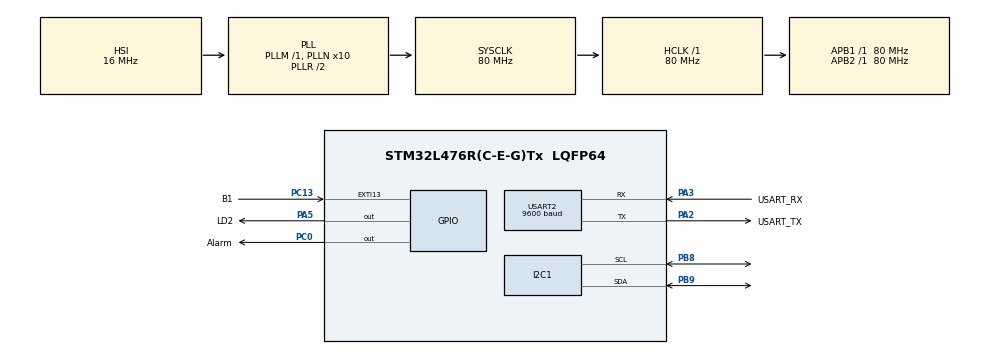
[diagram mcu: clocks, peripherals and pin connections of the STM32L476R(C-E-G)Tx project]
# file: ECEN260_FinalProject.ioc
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I2C1.Timing=0x10909CEC
Mcu.Family=STM32L4
Mcu.Name=STM32L476R(C-E-G)Tx
Mcu.Package=LQFP64
NVIC.EXTI15_10_IRQn=true\:0\:0\:false\:false\:true\:true\:true\:true
NVIC.PriorityGroup=NVIC_PRIORITYGROUP_4
NVIC.RTC_Alarm_IRQn=true\:0\:0\:false\:false\:true\:true\:true\:true
NVIC.USART2_IRQn=true\:0\:0\:false\:false\:true\:true\:true\:true
PA13\ (JTMS-SWDIO).GPIO_Label=TMS
PA13\ (JTMS-SWDIO).Mode=Serial_Wire
PA13\ (JTMS-SWDIO).Signal=SYS_JTMS-SWDIO
PA14\ (JTCK-SWCLK).GPIO_Label=TCK
PA14\ (JTCK-SWCLK).Mode=Serial_Wire
PA14\ (JTCK-SWCLK).Signal=SYS_JTCK-SWCLK
PA2.GPIO_Label=USART_TX
PA2.GPIO_Mode=GPIO_MODE_AF_PP
PA2.GPIO_PuPd=GPIO_NOPULL
PA2.GPIO_Speed=GPIO_SPEED_FREQ_VERY_HIGH
PA2.Mode=Asynchronous
PA2.Signal=USART2_TX
PA3.GPIO_Label=USART_RX
PA3.GPIO_Mode=GPIO_MODE_AF_PP
PA3.GPIO_PuPd=GPIO_NOPULL
PA3.GPIO_Speed=GPIO_SPEED_FREQ_VERY_HIGH
PA3.Mode=Asynchronous
PA3.Signal=USART2_RX
PA5.GPIO_Label=LD2
PA5.GPIO_ModeDefaultOutputPP=GPIO_MODE_OUTPUT_PP
PA5.GPIO_PuPd=GPIO_NOPULL
PA5.GPIO_Speed=GPIO_SPEED_FREQ_LOW
PA5.Signal=GPIO_Output
PB3\ (JTDO-TRACESWO).GPIO_Label=SWO
PB3\ (JTDO-TRACESWO).Signal=SYS_JTDO-SWO
PB8.Mode=I2C
PB8.Signal=I2C1_SCL
PB9.Mode=I2C
PB9.Signal=I2C1_SDA
PC0.GPIO_Label=Alarm
PC0.Signal=GPIO_Output
PC13.GPIO_Label=B1
PC13.Signal=GPXTI13
PC14-OSC32_IN\ (PC14).Mode=LSE-External-Oscillator
PC14-OSC32_IN\ (PC14).Signal=RCC_OSC32_IN
PC15-OSC32_OUT\ (PC15).Mode=LSE-External-Oscillator
PC15-OSC32_OUT\ (PC15).Signal=RCC_OSC32_OUT
PH0-OSC_IN\ (PH0).Mode=HSE-External-Oscillator
PH0-OSC_IN\ (PH0).Signal=RCC_OSC_IN
PH1-OSC_OUT\ (PH1).Mode=HSE-External-Oscillator
PH1-OSC_OUT\ (PH1).Signal=RCC_OSC_OUT
ProjectManager.HeapSize=0x200
ProjectManager.StackSize=0x400
ProjectManager.TargetToolchain=STM32CubeIDE
RCC.ADCFreq_Value=64000000
RCC.AHBFreq_Value=80000000
RCC.APB1Freq_Value=80000000
RCC.APB1TimFreq_Value=80000000
RCC.APB2Freq_Value=80000000
RCC.APB2TimFreq_Value=80000000
RCC.CortexFreq_Value=80000000
RCC.HCLKFreq_Value=80000000
RCC.HSE_VALUE=8000000
RCC.HSI_VALUE=16000000
RCC.MSI_VALUE=4000000
RCC.PLLN=10
RCC.PLLSourceVirtual=RCC_PLLSOURCE_HSI
RCC.PREFETCH_ENABLE=1
RCC.RTCClockSelection=RCC_RTCCLKSOURCE_LSE
RCC.SYSCLKFreq_VALUE=80000000
RCC.SYSCLKSource=RCC_SYSCLKSOURCE_PLLCLK
RCC.USBFreq_Value=64000000
RCC.VCOOutputFreq_Value=160000000
RTC.Alarm-Alarm\ A=RTC_ALARM_A
RTC.AlarmMaskDateWeekDay-Alarm\ A=RTC_ALARMMASK_DATEWEEKDAY
RTC.Date=7
RTC.Format=RTC_FORMAT_BIN
RTC.HourFormat=RTC_HOURFORMAT_12
RTC.Hours=12
RTC.Minutes=59
RTC.Month=RTC_MONTH_APRIL
RTC.TimeFormat=RTC_HOURFORMAT12_PM
RTC.WeekDay=RTC_WEEKDAY_SUNDAY
RTC.Year=24
USART2.BaudRate=9600
USART2.VirtualMode-Asynchronous=VM_ASYNC
VP_RTC_VS_RTC_Activate.Mode=RTC_Enabled
VP_RTC_VS_RTC_Alarm_A_Intern.Mode=Alarm A
VP_RTC_VS_RTC_Calendar.Mode=RTC_Calendar
board=NUCLEO-L476RG

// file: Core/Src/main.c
/* USER CODE BEGIN Header */
/**
  ******************************************************************************
  * @file           : main.c
  * @brief          : Main program body
  ******************************************************************************
  * @attention
  *
  * Copyright (c) 2024 STMicroelectronics.
  * All rights reserved.
  *
  * This software is licensed under terms that can be found in the LICENSE file
  * in the root directory of this software component.
  * If no LICENSE file comes with this software, it is provided AS-IS.
  *
  ******************************************************************************
  */
/* USER CODE END Header */
#include "main.h"

/* USER CODE BEGIN Includes */
#include <stdio.h>
#include <stdbool.h>
#include "string.h"
/* USER CODE END Includes */

/* USER CODE BEGIN PM */
#define I2C_ADDR 0x27 // I2C address of the PCF8574
#define RS_BIT 0 // Register select bit
#define EN_BIT 2 // Enable bit
#define BL_BIT 3 // Backlight bit
#define D4_BIT 4 // Data 4 bit
#define D5_BIT 5 // Data 5 bit
#define D6_BIT 6 // Data 6 bit
#define D7_BIT 7 // Data 7 bit
#define LCD_ROWS 2 // Number of rows on the LCD
#define LCD_COLS 16 // Number of columns on the LCD

// Uart Macros
#define UART_DELAY 100 // wait max of 100 ms between frames in message
#define MAX_MESSAGE_SIZE 100 // 100 characters maximum message size
/* USER CODE END PM */

I2C_HandleTypeDef hi2c1;

RTC_HandleTypeDef hrtc;

UART_HandleTypeDef huart2;

/* USER CODE BEGIN PV */

// Private variable for LCD
uint8_t backlight_state = 1;

// Private variables for UART
uint8_t message[MAX_MESSAGE_SIZE] = {0}; // char array to store message received
uint8_t response[MAX_MESSAGE_SIZE] = {0}; // char array to store response message
uint8_t uart2_byte; // byte received from UART2
uint8_t buffer_position = 0; // how many bytes received so far

// Private variables for UART Logic
bool setting_time = false;
bool setting_alarm = false;

// Time, Date, and Alarm variable initializations
RTC_TimeTypeDef tempTime;
RTC_DateTypeDef tempDate;
RTC_AlarmTypeDef sAlarm;
RTC_TimeTypeDef sTime;
RTC_DateTypeDef sDate;
bool alarm = false;		// Is an alarm currently going off
bool alarm_cleared = false;		// Was an alarm cleared more recenly than it was set("Get Alarm" cant see cleared status)
int seconds=0;
int minutes=0;
int hour=0;
int day=0;
int month=0;
int year=0;

/* USER CODE END PV */

void SystemClock_Config(void);
static void MX_GPIO_Init(void);
static void MX_USART2_UART_Init(void);
static void MX_RTC_Init(void);
static void MX_I2C1_Init(void);
/* USER CODE BEGIN PFP */
void GetAlarmStatus(char*);
/* USER CODE END PFP */

/* USER CODE BEGIN 0 */

// Functions for interfacing with the LCD
void lcd_write_nibble(uint8_t nibble, uint8_t rs) {
 uint8_t data = nibble << D4_BIT;
 data |= rs << RS_BIT;
 data |= backlight_state << BL_BIT; // Include backlight state in data
 data |= 1 << EN_BIT;
 HAL_I2C_Master_Transmit(&hi2c1, I2C_ADDR << 1, &data, 1, 100);
 HAL_Delay(1);
 data &= ~(1 << EN_BIT);
 HAL_I2C_Master_Transmit(&hi2c1, I2C_ADDR << 1, &data, 1, 100);
}
void lcd_send_cmd(uint8_t cmd) {
 uint8_t upper_nibble = cmd >> 4;
 uint8_t lower_nibble = cmd & 0x0F;
 lcd_write_nibble(upper_nibble, 0);
 lcd_write_nibble(lower_nibble, 0);
 if (cmd == 0x01 || cmd == 0x02) {
 HAL_Delay(2);
 }
}
void lcd_send_data(uint8_t data) {
 uint8_t upper_nibble = data >> 4;
 uint8_t lower_nibble = data & 0x0F;
 lcd_write_nibble(upper_nibble, 1);
 lcd_write_nibble(lower_nibble, 1);
}

void lcd_init() {
 HAL_Delay(50);
 lcd_write_nibble(0x03, 0);
 HAL_Delay(5);
 lcd_write_nibble(0x03, 0);
 HAL_Delay(1);
 lcd_write_nibble(0x03, 0);
 HAL_Delay(1);
 lcd_write_nibble(0x02, 0);
 lcd_send_cmd(0x28);
 lcd_send_cmd(0x0C);
 lcd_send_cmd(0x06);
 lcd_send_cmd(0x01);
 HAL_Delay(2);
}
void lcd_write_string(char *str) {
 while (*str) {
 lcd_send_data(*str++);
 }
}
void lcd_set_cursor(uint8_t row, uint8_t column) {
 uint8_t address;
 switch (row) {
 case 0:
 address = 0x00;
 break;
 case 1:
 address = 0x40;
 break;
 default:
 address = 0x00;
 }
 address += column;
 lcd_send_cmd(0x80 | address);
}
void lcd_clear(void) {
lcd_send_cmd(0x01);
 HAL_Delay(2);
}
void lcd_backlight(uint8_t state) {
 if (state) {
 backlight_state = 1;
 } else {
 backlight_state = 0;
 }
}
/* USER CODE END 0 */

int main(void)
{

  /* MCU Configuration--------------------------------------------------------*/

  /* Reset of all peripherals, Initializes the Flash interface and the Systick. */
  HAL_Init();

  /* Configure the system clock */
  SystemClock_Config();

  /* Initialize all configured peripherals */
  MX_GPIO_Init();
  MX_USART2_UART_Init();
  MX_RTC_Init();
  MX_I2C1_Init();
  /* USER CODE BEGIN 2 */

  // Start UART2 to receive interrupts
  HAL_UART_Receive_IT(&huart2, &uart2_byte, 1); // put byte from UART2 in "uart2_byte"

  // Set up I2C pull-up resistors
  GPIOB->PUPDR |= 0b01 << (8*2);
  GPIOB->PUPDR |= 0b01 << (9*2);

  // Initialize the LCD and turn on backlight
  lcd_init();
  lcd_backlight(1);

  /* USER CODE END 2 */

  /* Infinite loop */
  while (1)
  {

    /* USER CODE BEGIN 3 */

	  // Re-initialize these here to minimize distance between the time retrieval and display.
	  char time_str[9];
	  char date_str[16];

	  // Retrieve time and date from RTC
	  HAL_RTC_GetTime(&hrtc, &sTime, RTC_FORMAT_BIN);
	  HAL_RTC_GetDate(&hrtc, &sDate, RTC_FORMAT_BIN);

	  // Assign time and date to initialized variables
	  seconds = sTime.Seconds;
	  minutes = sTime.Minutes;
	  hour = sTime.Hours;
	  day = sDate.Date;
	  month = sDate.Month;
	  year = sDate.Year;

	  //Format our time and date into a printable string
	  snprintf(time_str, sizeof(time_str), "%02d:%02d:%02d", hour, minutes, seconds);
	  snprintf(date_str, sizeof(date_str), "%02d/%02d/20%02d", month, day, year);

	  // Clear the LCD and then write the updated time and date to it
	  lcd_clear();
	  lcd_write_string(time_str);
	  lcd_set_cursor(1, 0);
	  lcd_write_string(date_str);

	  // Delay for one second between writing
	  HAL_Delay(1000);
  }
  /* USER CODE END 3 */
}

void SystemClock_Config(void)
{
  RCC_OscInitTypeDef RCC_OscInitStruct = {0};
  RCC_ClkInitTypeDef RCC_ClkInitStruct = {0};

  /** Configure the main internal regulator output voltage
  */
  if (HAL_PWREx_ControlVoltageScaling(PWR_REGULATOR_VOLTAGE_SCALE1) != HAL_OK)
  {
    Error_Handler();
  }

  /** Configure LSE Drive Capability
  */
  HAL_PWR_EnableBkUpAccess();
  __HAL_RCC_LSEDRIVE_CONFIG(RCC_LSEDRIVE_LOW);

  /** Initializes the RCC Oscillators according to the specified parameters
  * in the RCC_OscInitTypeDef structure.
  */
  RCC_OscInitStruct.OscillatorType = RCC_OSCILLATORTYPE_HSI|RCC_OSCILLATORTYPE_LSE;
  RCC_OscInitStruct.LSEState = RCC_LSE_ON;
  RCC_OscInitStruct.HSIState = RCC_HSI_ON;
  RCC_OscInitStruct.HSICalibrationValue = RCC_HSICALIBRATION_DEFAULT;
  RCC_OscInitStruct.PLL.PLLState = RCC_PLL_ON;
  RCC_OscInitStruct.PLL.PLLSource = RCC_PLLSOURCE_HSI;
  RCC_OscInitStruct.PLL.PLLM = 1;
  RCC_OscInitStruct.PLL.PLLN = 10;
  RCC_OscInitStruct.PLL.PLLP = RCC_PLLP_DIV7;
  RCC_OscInitStruct.PLL.PLLQ = RCC_PLLQ_DIV2;
  RCC_OscInitStruct.PLL.PLLR = RCC_PLLR_DIV2;
  if (HAL_RCC_OscConfig(&RCC_OscInitStruct) != HAL_OK)
  {
    Error_Handler();
  }

  /** Initializes the CPU, AHB and APB buses clocks
  */
  RCC_ClkInitStruct.ClockType = RCC_CLOCKTYPE_HCLK|RCC_CLOCKTYPE_SYSCLK
                              |RCC_CLOCKTYPE_PCLK1|RCC_CLOCKTYPE_PCLK2;
  RCC_ClkInitStruct.SYSCLKSource = RCC_SYSCLKSOURCE_PLLCLK;
  RCC_ClkInitStruct.AHBCLKDivider = RCC_SYSCLK_DIV1;
  RCC_ClkInitStruct.APB1CLKDivider = RCC_HCLK_DIV1;
  RCC_ClkInitStruct.APB2CLKDivider = RCC_HCLK_DIV1;

  if (HAL_RCC_ClockConfig(&RCC_ClkInitStruct, FLASH_LATENCY_4) != HAL_OK)
  {
    Error_Handler();
  }
}

static void MX_I2C1_Init(void)
{

  hi2c1.Instance = I2C1;
  hi2c1.Init.Timing = 0x10909CEC;
  hi2c1.Init.OwnAddress1 = 0;
  hi2c1.Init.AddressingMode = I2C_ADDRESSINGMODE_7BIT;
  hi2c1.Init.DualAddressMode = I2C_DUALADDRESS_DISABLE;
  hi2c1.Init.OwnAddress2 = 0;
  hi2c1.Init.OwnAddress2Masks = I2C_OA2_NOMASK;
  hi2c1.Init.GeneralCallMode = I2C_GENERALCALL_DISABLE;
  hi2c1.Init.NoStretchMode = I2C_NOSTRETCH_DISABLE;
  if (HAL_I2C_Init(&hi2c1) != HAL_OK)
  {
    Error_Handler();
  }

  /** Configure Analogue filter
  */
  if (HAL_I2CEx_ConfigAnalogFilter(&hi2c1, I2C_ANALOGFILTER_ENABLE) != HAL_OK)
  {
    Error_Handler();
  }

  /** Configure Digital filter
  */
  if (HAL_I2CEx_ConfigDigitalFilter(&hi2c1, 0) != HAL_OK)
  {
    Error_Handler();
  }

}

static void MX_RTC_Init(void)
{

  RTC_TimeTypeDef sTime = {0};
  RTC_DateTypeDef sDate = {0};
  RTC_AlarmTypeDef sAlarm = {0};

  /** Initialize RTC Only
  */
  hrtc.Instance = RTC;
  hrtc.Init.HourFormat = RTC_HOURFORMAT_12;
  hrtc.Init.AsynchPrediv = 127;
  hrtc.Init.SynchPrediv = 255;
  hrtc.Init.OutPut = RTC_OUTPUT_DISABLE;
  hrtc.Init.OutPutRemap = RTC_OUTPUT_REMAP_NONE;
  hrtc.Init.OutPutPolarity = RTC_OUTPUT_POLARITY_HIGH;
  hrtc.Init.OutPutType = RTC_OUTPUT_TYPE_OPENDRAIN;
  if (HAL_RTC_Init(&hrtc) != HAL_OK)
  {
    Error_Handler();
  }

  /** Initialize RTC and set the Time and Date
  */
  sTime.Hours = 0;
  sTime.Minutes = 0;
  sTime.Seconds = 0;
  sTime.TimeFormat = RTC_HOURFORMAT12_AM;
  sTime.DayLightSaving = RTC_DAYLIGHTSAVING_NONE;
  sTime.StoreOperation = RTC_STOREOPERATION_RESET;
  if (HAL_RTC_SetTime(&hrtc, &sTime, RTC_FORMAT_BIN) != HAL_OK)
  {
    Error_Handler();
  }
  sDate.WeekDay = RTC_WEEKDAY_SUNDAY;
  sDate.Month = RTC_MONTH_APRIL;
  sDate.Date = 7;
  sDate.Year = 24;

  if (HAL_RTC_SetDate(&hrtc, &sDate, RTC_FORMAT_BIN) != HAL_OK)
  {
    Error_Handler();
  }

  /** Enable the Alarm A
  */
  sAlarm.AlarmTime.Hours = 1;
  sAlarm.AlarmTime.Minutes = 0;
  sAlarm.AlarmTime.Seconds = 0;
  sAlarm.AlarmTime.SubSeconds = 0;
  sAlarm.AlarmTime.TimeFormat = RTC_HOURFORMAT12_PM;
  sAlarm.AlarmTime.DayLightSaving = RTC_DAYLIGHTSAVING_NONE;
  sAlarm.AlarmTime.StoreOperation = RTC_STOREOPERATION_RESET;
  sAlarm.AlarmMask = RTC_ALARMMASK_DATEWEEKDAY;
  sAlarm.AlarmSubSecondMask = RTC_ALARMSUBSECONDMASK_ALL;
  sAlarm.AlarmDateWeekDaySel = RTC_ALARMDATEWEEKDAYSEL_DATE;
  sAlarm.AlarmDateWeekDay = 1;
  sAlarm.Alarm = RTC_ALARM_A;
  if (HAL_RTC_SetAlarm_IT(&hrtc, &sAlarm, RTC_FORMAT_BIN) != HAL_OK)
  {
    Error_Handler();
  }

}

static void MX_USART2_UART_Init(void)
{

  huart2.Instance = USART2;
  huart2.Init.BaudRate = 9600;
  huart2.Init.WordLength = UART_WORDLENGTH_8B;
  huart2.Init.StopBits = UART_STOPBITS_1;
  huart2.Init.Parity = UART_PARITY_NONE;
  huart2.Init.Mode = UART_MODE_TX_RX;
  huart2.Init.HwFlowCtl = UART_HWCONTROL_NONE;
  huart2.Init.OverSampling = UART_OVERSAMPLING_16;
  huart2.Init.OneBitSampling = UART_ONE_BIT_SAMPLE_DISABLE;
  huart2.AdvancedInit.AdvFeatureInit = UART_ADVFEATURE_NO_INIT;
  if (HAL_UART_Init(&huart2) != HAL_OK)
  {
    Error_Handler();
  }

}

static void MX_GPIO_Init(void)
{
  GPIO_InitTypeDef GPIO_InitStruct = {0};

  /* GPIO Ports Clock Enable */
  __HAL_RCC_GPIOC_CLK_ENABLE();
  __HAL_RCC_GPIOH_CLK_ENABLE();
  __HAL_RCC_GPIOA_CLK_ENABLE();
  __HAL_RCC_GPIOB_CLK_ENABLE();

  /*Configure GPIO pin Output Level */
  HAL_GPIO_WritePin(Alarm_GPIO_Port, Alarm_Pin, GPIO_PIN_RESET);

  /*Configure GPIO pin Output Level */
  HAL_GPIO_WritePin(LD2_GPIO_Port, LD2_Pin, GPIO_PIN_RESET);

  /*Configure GPIO pin : B1_Pin */
  GPIO_InitStruct.Pin = B1_Pin;
  GPIO_InitStruct.Mode = GPIO_MODE_IT_RISING;
  GPIO_InitStruct.Pull = GPIO_NOPULL;
  HAL_GPIO_Init(B1_GPIO_Port, &GPIO_InitStruct);

  /*Configure GPIO pin : Alarm_Pin */
  GPIO_InitStruct.Pin = Alarm_Pin;
  GPIO_InitStruct.Mode = GPIO_MODE_OUTPUT_PP;
  GPIO_InitStruct.Pull = GPIO_NOPULL;
  GPIO_InitStruct.Speed = GPIO_SPEED_FREQ_LOW;
  HAL_GPIO_Init(Alarm_GPIO_Port, &GPIO_InitStruct);

  /*Configure GPIO pin : LD2_Pin */
  GPIO_InitStruct.Pin = LD2_Pin;
  GPIO_InitStruct.Mode = GPIO_MODE_OUTPUT_PP;
  GPIO_InitStruct.Pull = GPIO_NOPULL;
  GPIO_InitStruct.Speed = GPIO_SPEED_FREQ_LOW;
  HAL_GPIO_Init(LD2_GPIO_Port, &GPIO_InitStruct);

  /* EXTI interrupt init*/
  HAL_NVIC_SetPriority(EXTI15_10_IRQn, 0, 0);
  HAL_NVIC_EnableIRQ(EXTI15_10_IRQn);

}

/* USER CODE BEGIN 4 */
void HAL_RTC_AlarmAEventCallback(RTC_HandleTypeDef *hrtc) {

	// When the alarm triggers, Turn on the LED
	HAL_GPIO_WritePin(Alarm_GPIO_Port, Alarm_Pin, GPIO_PIN_SET);
	alarm = true;
}

void HAL_GPIO_EXTI_Callback(uint16_t GPIO_Pin){

	// Check if interrupt was on line 13
	if(GPIO_Pin == B1_Pin){

		// Toggle the LED and turn off the Alarm
		HAL_GPIO_TogglePin(Alarm_GPIO_Port, Alarm_Pin);

		if(alarm){
			// If the button is pressed after an alarm has gone off reset it and clear the alarm variable
			HAL_RTC_DeactivateAlarm(&hrtc, RTC_ALARM_A);
			HAL_RTC_SetAlarm_IT(&hrtc, &sAlarm, RTC_FORMAT_BIN);
			alarm = false;
		}

		// Debounce the switch with a delay
		for(int i=0; i<=100; i++);
	}

}

// UART communication section
void HAL_UART_RxCpltCallback(UART_HandleTypeDef *huart){
 // Check if byte received was on UART2 (from laptop)
 if (huart == &huart2){
     // If uart2_byte isn't \r, \n, or \0, it means the message isn't over yet
     if ((uart2_byte != '\r') && (uart2_byte != '\n') && (uart2_byte != '\0')){

   	  // Add uart2_byte to the message
         message[buffer_position] = uart2_byte;
         buffer_position++;

     } else {
    	 // Code for interpreting commands

    	 // First check for special setting cases
    	 if(setting_time && (sizeof(message) > 15)){
    		 // Input should be Current Time

    		 // Initialize temporary variables
    		 int year;
    		 int month;
    		 int day;
    		 int hour;
    		 int minute;
    		 int second;

    		 // Cast data from "message" onto our variables
			 sscanf(message, "20%d-%d-%d %d:%d:%d", &year, &month, &day, &hour, &minute, &second);

			 // Account for AM/PM hours
			 if (hour >= 12){
				 tempTime.Hours = (hour-12);
				 tempTime.TimeFormat = 1;
			 }
			 else{
				 tempTime.Hours = hour;
				 tempTime.TimeFormat = 0;
			 }

			 // Finish setting Time and Date variables into their struct equivalent
			 tempDate.Year = year;
			 tempDate.Month = month;
			 tempDate.Date = day;
			 tempTime.Minutes = minute;
			 tempTime.Seconds = second;

			 // Write to the RTC to change time/date
			 HAL_RTC_SetTime(&hrtc, &tempTime, RTC_FORMAT_BIN);
			 HAL_RTC_SetDate(&hrtc, &tempDate, RTC_FORMAT_BIN);

			 // Set response messge
			 strncpy((char*)response, "The time was successfully set ", MAX_MESSAGE_SIZE);

			 // Clear time setting special case
			 setting_time = false;
    	 }
    	 else if (setting_alarm && (sizeof(message) > 10)){
			 // Input is Alarm time

    		 // Initialize temporary variables
    		 int hour;
    		 int minute;
    		 int second;

    		 // Cast message data to the variables
			 sscanf(message, "%d:%d:%d", &hour, &minute, &second);

			 // Adjust for AM/PM
			 if (hour >= 12){
				 tempTime.Hours = (hour-12);
				 tempTime.TimeFormat = 1;
			 }
			 else{
				 tempTime.Hours = hour;
				 tempTime.TimeFormat = 0;
			 }

			 // Set remaining variables to the temporary time struct
			 tempTime.Minutes = minute;
			 tempTime.Seconds = second;

			 //Set the time and mask of the alarm
			 sAlarm.AlarmTime = tempTime;
			 sAlarm.AlarmMask = RTC_ALRMAR_MSK4;
			 sAlarm.Alarm = RTC_ALARM_A;

			 // Activate the created alarm with interrupt enabled
			 HAL_RTC_SetAlarm_IT(&hrtc, &sAlarm, RTC_FORMAT_BIN);

			 // Set the respond message to be returned
			 strncpy((char*)response, "The alarm was successfully set ", MAX_MESSAGE_SIZE);

			 // Clear the setting_alarm special case as well as cleared_alarm case
			 setting_alarm = false;
			 alarm_cleared = false;
    	 }

    	 else{
    		 // No data message means check for command

			 // Check message
			 if(strcmp((char*)message, "Set Time") == 0) {
				 // Set the special time setting case to true
				 setting_time = true;

				 // Request time in specific format
				 strncpy((char*)response, "Ready to set time. Input the current time with the following format: \"YYYY-MM-DD HH:MM:SS\" ", MAX_MESSAGE_SIZE);
			 }
			 else if(strcmp((char*)message, "Set Alarm") == 0) {
				 // Set the special alarm setting case to true
				 setting_alarm = true;

				 // Request time in specific format
				 strncpy((char*)response, "Ready to set an Alarm. Input the alarm time with the following format: \"HH:MM:SS\" ", MAX_MESSAGE_SIZE);
			 }
			 else if(strcmp((char*)message, "Get Alarm") == 0) {
				 // Retrieve current alarm status
				 char alarm_status[50];
				 GetAlarmStatus(alarm_status);

				 // Send current alarm status as response
				 strncpy((char*)response, alarm_status, MAX_MESSAGE_SIZE);
			 }
			 else if(strcmp((char*)message, "Clear Alarm") == 0) {
				 // Clear the currently set alarm
				 HAL_RTC_DeactivateAlarm(&hrtc, RTC_ALARM_A);

				 // Set program local alarm_cleared variable so that "Get Alarm" command will respond correctly
				 alarm_cleared = true;

				 // Send clear success response
				 strncpy((char*)response, "Your alarm has been cleared " , MAX_MESSAGE_SIZE);
			 }
			 else{
				 // Send Unrecognized command for anything else
				 strncpy((char*)response, "Unrecognized command ", MAX_MESSAGE_SIZE);
			 }
    	 }

		 // Transmit response to Laptop
		 HAL_UART_Transmit(&huart2, (uint8_t*)response, strlen(response), UART_DELAY);

		 // Zero out message array and response array
         memset(message,  0, sizeof(message));
         memset(response, 0, sizeof(response));
         buffer_position = 0;
     }

	 // Restart UART2's receive interrupt to wait for next byte from laptop
	 HAL_UART_Receive_IT(&huart2, &uart2_byte, 1); //start next byte receive interrupt
 }
}

void GetAlarmStatus(char* alarm_status){
	// Create the string version of alarm time
	int hour = sAlarm.AlarmTime.Hours;
	int minutes = sAlarm.AlarmTime.Minutes;
	int seconds = sAlarm.AlarmTime.Seconds;
	char next_alarm[50];
	snprintf(next_alarm, sizeof(next_alarm), "Your next alarm is at %02d:%02d:%02d ", hour, minutes, seconds);

	// Check if the alarm is in the future
    if ((sAlarm.AlarmTime.Hours < sTime.Hours) ||
        (sAlarm.AlarmTime.Hours == sTime.Hours && sAlarm.AlarmTime.Minutes < sTime.Minutes) ||
        (sAlarm.AlarmTime.Hours == sTime.Hours && sAlarm.AlarmTime.Minutes == sTime.Minutes && sAlarm.AlarmTime.Seconds < sTime.Seconds)||(alarm_cleared)) {
    	// It is not in the future, send no future alarm message
		strcpy(alarm_status, "You don't have a future alarm set for today. ");
    }
	else{
		// Alarm is set for a future time, send according message
    	strcpy(alarm_status, next_alarm);
	}
}
/* USER CODE END 4 */

void Error_Handler(void)
{
  __disable_irq();
  while (1)
  {
  }
}
